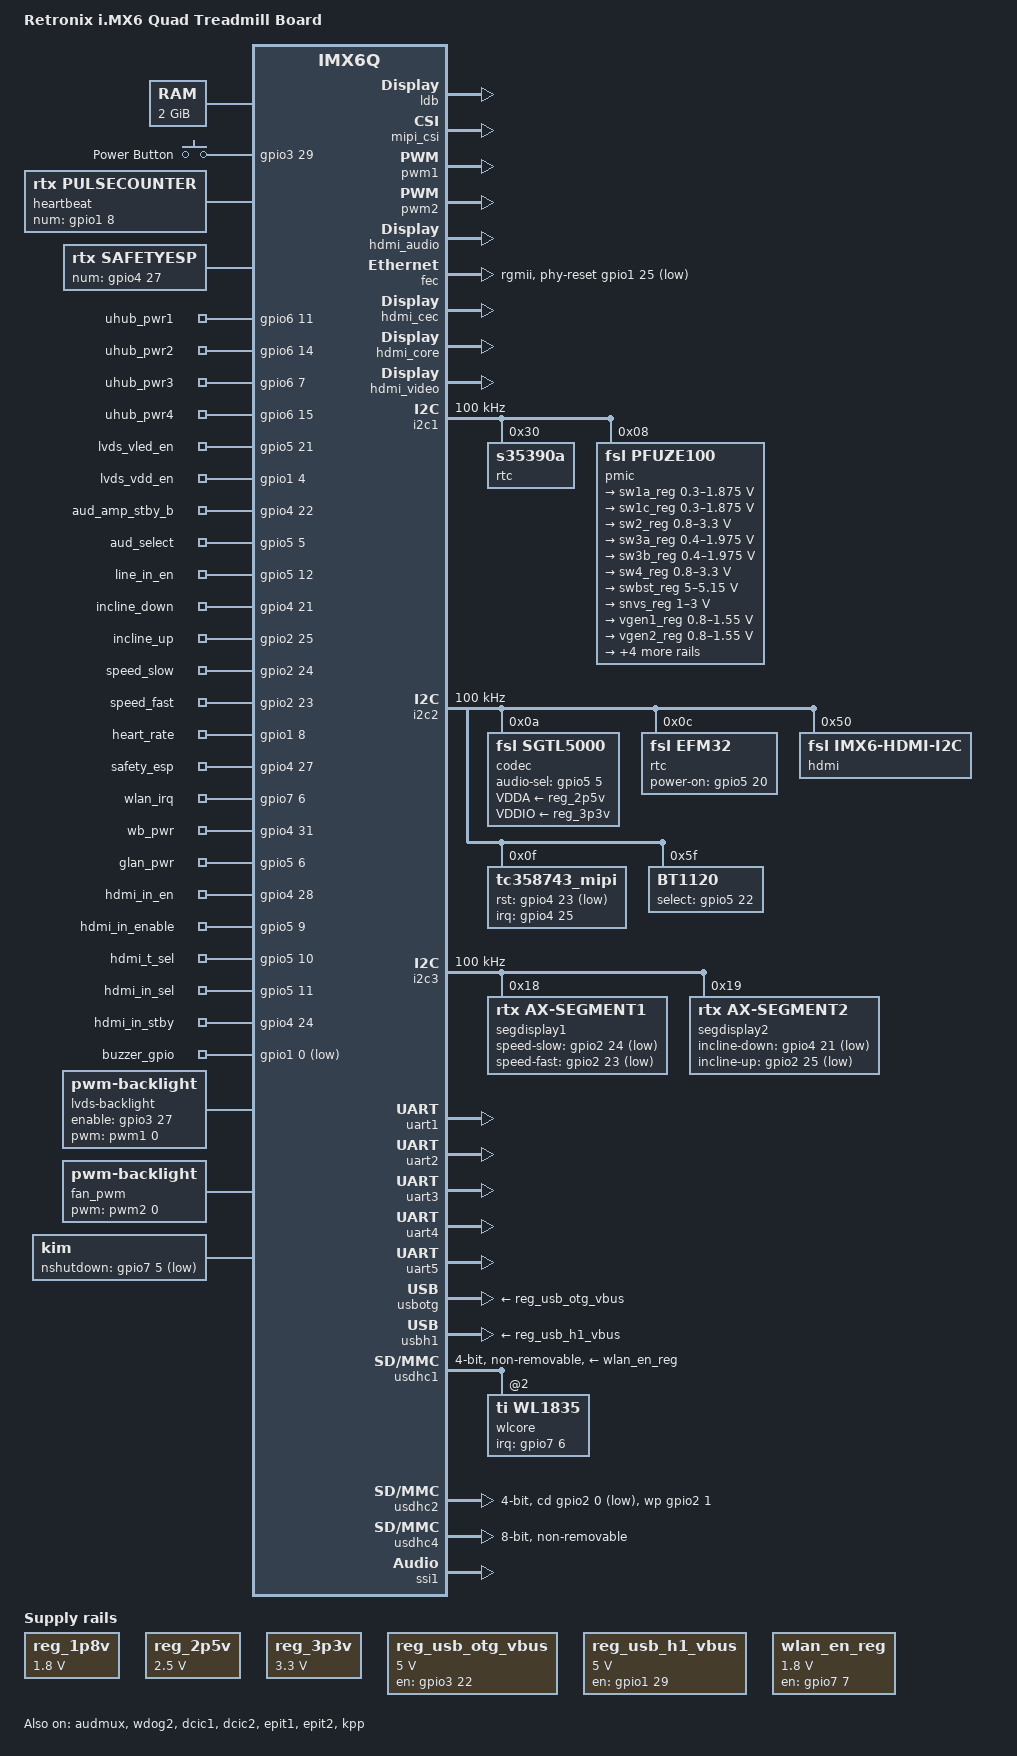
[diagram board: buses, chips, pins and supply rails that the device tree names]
/*
 * Copyright 2013-2016 Boundary Devices, Inc.
 * Copyright 2012 Freescale Semiconductor, Inc.
 * Copyright 2011 Linaro Ltd.
 *
 * The code contained herein is licensed under the GNU General Public
 * License. You may obtain a copy of the GNU General Public License
 * Version 2 or later at the following locations:
 *
 * http://www.opensource.org/licenses/gpl-license.html
 * http://www.gnu.org/copyleft/gpl.html
 */

/dts-v1/;

#include "skeleton.dtsi"
#include "imx6q-pinfunc.h"
#include <dt-bindings/gpio/gpio.h>
#include <dt-bindings/input/input.h>
#include <dt-bindings/interrupt-controller/arm-gic.h>
#include <dt-bindings/clock/imx6qdl-clock.h>

#include "rtx-imx6q-soc.dtsi"
#include "rtx-imx6q-treadmill-android-iomux.dtsi"


/ {
	model = "Retronix i.MX6 Quad Treadmill Board";
	compatible = "fsl,imx6q-rtx-treadmill", "fsl,imx6q";
	
	aliases {
		mxcfb0 = &mxcfb1;
		mxcfb1 = &mxcfb2;
		mxcfb2 = &mxcfb3;
		mxcfb3 = &mxcfb4;
		mmc0 = &usdhc4;
		mmc1 = &usdhc2;
		mmc2 = &usdhc3;
		mmc3 = &usdhc1;
	};
	
	memory {
		reg = <0x10000000 0x80000000>;
	};

	regulators {
		compatible = "simple-bus";
		
		reg_1p8v: 1p8v {
			compatible = "regulator-fixed";
			regulator-name = "1P8V";
			regulator-min-microvolt = <1800000>;
			regulator-max-microvolt = <1800000>;
			regulator-always-on;
		};

		reg_2p5v: 2p5v {
			compatible = "regulator-fixed";
			regulator-name = "2P5V";
			regulator-min-microvolt = <2500000>;
			regulator-max-microvolt = <2500000>;
			regulator-always-on;
		};

		reg_3p3v: 3p3v {
			compatible = "regulator-fixed";
			regulator-name = "3P3V";
			regulator-min-microvolt = <3300000>;
			regulator-max-microvolt = <3300000>;
			regulator-always-on;
		};

		reg_usb_otg_vbus: usb_otg_vbus {
			compatible = "regulator-fixed";
			regulator-name = "usb_otg_vbus";
			regulator-min-microvolt = <5000000>;
			regulator-max-microvolt = <5000000>;
			gpio = <&gpio3 22 GPIO_ACTIVE_HIGH>;
			enable-active-high;
		};

		reg_usb_h1_vbus: usb_h1_vbus {
			compatible = "regulator-fixed";
			regulator-name = "usb_h1_vbus";
			regulator-min-microvolt = <5000000>;
			regulator-max-microvolt = <5000000>;
			gpio = <&gpio1 29 GPIO_ACTIVE_HIGH>;
			enable-active-high;
		};
		
	};

	gpio-keys {
		compatible = "gpio-keys";
		power {
			label = "Power Button";
			gpios = <&gpio3 29 GPIO_ACTIVE_HIGH>;
			linux,code = <KEY_POWER>;
			gpio-key,wakeup;
			debounce-interval = <1>;
		};

	};

	heartbeat {
		compatible = "rtx,pulsecounter";
		gpio-num = <&gpio1 8 GPIO_ACTIVE_HIGH>;
		trigger-edge = <1>;//0(none);1(rising);2(falling);3(both)
		min-count = <30>;   //1次/min
		max-count = <300>; //300次/min
	};
	
	safetyesp {
		compatible = "rtx,safetyesp";
		gpio-num = <&gpio4 27 GPIO_ACTIVE_HIGH>;
		trigger-edge = <2>;//0(none);1(rising);2(falling);3(both)
	};
	
	gpio_export {
		compatible = "gpio-export";

		/* uhub_pwr1 = <&gpio6 11 GPIO_ACTIVE_HIGH>; 171 */
		uhub_pwr1 {
			gpio-export,name = "uhub_pwr1";
			gpio-export,output = <1>;
			gpio-export,direction_may_change ;
			gpios = <&gpio6 11 GPIO_ACTIVE_HIGH>;
		};
		/* uhub_pwr2 = <&gpio6 14 GPIO_ACTIVE_HIGH>; 174 */
		uhub_pwr2 {
			gpio-export,name = "uhub_pwr2";
			gpio-export,output = <1>;
			gpio-export,direction_may_change ;
			gpios = <&gpio6 14 GPIO_ACTIVE_HIGH>;
		};
		/* uhub_pwr3 = <&gpio6 7 GPIO_ACTIVE_HIGH>; 167 */
		uhub_pwr3 {
			gpio-export,name = "uhub_pwr3";
			gpio-export,output = <1>;
			gpio-export,direction_may_change ;
			gpios = <&gpio6 7 GPIO_ACTIVE_HIGH>;
		};
		/* uhub_pwr4 = <&gpio6 15 GPIO_ACTIVE_HIGH>; 175 */
		uhub_pwr4 {
			gpio-export,name = "uhub_pwr4";
			gpio-export,output = <1>;
			gpio-export,direction_may_change ;
			gpios = <&gpio6 15 GPIO_ACTIVE_HIGH>;
		};
		
		/* lvds_vled_en = <&gpio5 21 GPIO_ACTIVE_HIGH>; 149 */
		lvds_vled_en {
			gpio-export,name = "lvds_vled_en";
			gpio-export,output = <1>;
			gpio-export,direction_may_change ;
			gpios = <&gpio5 21 GPIO_ACTIVE_HIGH>;		
		};
		/* lvds_vdd_en = <&gpio1 4 GPIO_ACTIVE_HIGH>; 4 */
		lvds_vdd_en {
			gpio-export,name = "lvds_vdd_en";
			gpio-export,output = <1>;
			gpio-export,direction_may_change ;
			gpios = <&gpio1 4 GPIO_ACTIVE_HIGH>;		
		};
		
		/* aud_amp_stby_b = <&gpio4 22 GPIO_ACTIVE_HIGH>; 118 */
		aud_amp_stby_b {
			gpio-export,name = "aud_amp_stby_b";
			gpio-export,output = <0>;
			gpio-export,direction_may_change ;
			gpios = <&gpio4 22 GPIO_ACTIVE_HIGH>;								
		};
		/* aud_select = <&gpio5 5 GPIO_ACTIVE_HIGH>; 133 */
		aud_select {
			gpio-export,name = "aud_select";
			gpio-export,output = <0>;
			gpio-export,direction_may_change ;
			gpios = <&gpio5 5 GPIO_ACTIVE_HIGH>;								
		};
		/* line_in_en = <&gpio5 12 GPIO_ACTIVE_HIGH>; 140 */
		line_in_en {
			gpio-export,name = "line_in_en";
			gpio-export,output = <1>;
			gpio-export,direction_may_change ;
			gpios = <&gpio5 12 GPIO_ACTIVE_HIGH>;								
		};
		
		/* incline_down = <&gpio4 21 GPIO_ACTIVE_HIGH>; 117 */
		incline_down {
			gpio-export,name = "incline_down";
			gpio-export,direction_may_change ;
			gpios = <&gpio4 21 GPIO_ACTIVE_HIGH>;				
		};
		/* incline_up = <&gpio2 25 GPIO_ACTIVE_HIGH>; 57 */
		incline_up {
			gpio-export,name = "incline_up";
			gpio-export,direction_may_change ;
			gpios = <&gpio2 25 GPIO_ACTIVE_HIGH>;				
		};
		/* speed_slow = <&gpio2 24 GPIO_ACTIVE_HIGH>; 56 */
		speed_slow {
			gpio-export,name = "speed_slow";
			gpio-export,direction_may_change ;
			gpios = <&gpio2 24 GPIO_ACTIVE_HIGH>;				
		};
		/* speed_fast = <&gpio2 23 GPIO_ACTIVE_HIGH>; 55 */
		speed_fast {
			gpio-export,name = "speed_fast";
			gpio-export,direction_may_change ;
			gpios = <&gpio2 23 GPIO_ACTIVE_HIGH>;				
		};
		/* heart_rate = <&gpio1 8 GPIO_ACTIVE_HIGH>; 8 */
		heart_rate {
			gpio-export,name = "heart_rate";
			gpio-export,direction_may_change ;
			gpios = <&gpio1 8 GPIO_ACTIVE_HIGH>;
		};
		/* safety_esp = <&gpio4 27 GPIO_ACTIVE_HIGH>; 123 */
		safety_esp {
			gpio-export,name = "safety_esp";
			gpio-export,direction_may_change ;
			gpios = <&gpio4 27 GPIO_ACTIVE_HIGH>;
		};
		
		/* wlan_irq = <&gpio7 6 GPIO_ACTIVE_HIGH>; 198 */
		wlan_irq {
			gpio-export,name = "wlan_irq";
			gpios = <&gpio7 6 GPIO_ACTIVE_HIGH>;								
		};
		
		/* wb_pwr = <&gpio4 31 GPIO_ACTIVE_HIGH>; 127 */
		wb_pwr {
			gpio-export,name = "wb_pwr";
			gpio-export,output = <1>;
			gpio-export,direction_may_change ;
			gpios = <&gpio4 31 GPIO_ACTIVE_HIGH>;								
		};
		
		/* glan_pwr = <&gpio5 6 GPIO_ACTIVE_HIGH>; 134 */
		glan_pwr {
			gpio-export,name = "glan_pwr";
			gpio-export,output = <1>;
			gpio-export,direction_may_change ;
			gpios = <&gpio5 6 GPIO_ACTIVE_HIGH>;								
		};
		
		/* 642 hdmi_in_en = <&gpio4 28 GPIO_ACTIVE_HIGH>; 124 */
		hdmi_in_en {
			gpio-export,name = "hdmi_in_en";
			gpio-export,output = <1>;
			gpio-export,direction_may_change ;
			gpios = <&gpio4 28 GPIO_ACTIVE_HIGH>;								
		};			
		/* 642 hdmi_in_enable = <&gpio5 9 GPIO_ACTIVE_HIGH>; 137 */
		hdmi_in_enable {
			gpio-export,name = "hdmi_in_enable";
			gpio-export,output = <1>;
			gpio-export,direction_may_change ;
			gpios = <&gpio5 9 GPIO_ACTIVE_HIGH>;								
		};
		/* 642 hdmi_t_sel = <&gpio5 10 GPIO_ACTIVE_HIGH>; 138 */
		hdmi_t_sel {
			gpio-export,name = "hdmi_t_sel";
			gpio-export,output = <0>;
			gpio-export,direction_may_change ;
			gpios = <&gpio5 10 GPIO_ACTIVE_HIGH>;								
		};
		/* 642 hdmi_in_sel = <&gpio5 11 GPIO_ACTIVE_HIGH>; 139*/
		hdmi_in_sel {
			gpio-export,name = "hdmi_in_sel";
			gpio-export,output = <1>;
			gpio-export,direction_may_change ;
			gpios = <&gpio5 11 GPIO_ACTIVE_HIGH>;								
		};		
		
		/* TC358743 hdmi_in_stby = <&gpio4 24 GPIO_ACTIVE_HIGH>; 120 */
		hdmi_in_stby {
			gpio-export,name = "hdmi_in_stby";
			gpio-export,output = <1>;
			gpio-export,direction_may_change ;
			gpios = <&gpio4 24 GPIO_ACTIVE_HIGH>;								
		};		

		/* buzzer_gpio = <&gpio1 0 GPIO_ACTIVE_LOW>; 0 */
		buzzer_gpio {
			gpio-export,name = "buzzer_gpio";
			gpio-export,output = <0>;
			gpio-export,direction_may_change ;
			gpios = <&gpio1 0 GPIO_ACTIVE_LOW>;								
		};	
				
	};

	sound {
		compatible = "fsl,imx6q-rtx-treadmill-sgtl5000",
			     "fsl,imx-audio-sgtl5000";
		model = "sgtl5000-audio";
		cpu-dai = <&ssi1>;
		audio-codec = <&codec>;
		audio-routing =
			"MIC_IN", "Mic Jack",
			"LINE_IN", "Line In Jack",
			"Headphone Jack", "HP_OUT",
			"Ext Spk", "LINE_OUT";
		fsl,mode = "slave";
		mux-int-port = <1>;
		mux-ext-port = <6>;

	};

	sound-hdmi {
		compatible = "fsl,imx6q-audio-hdmi",
			     "fsl,imx-audio-hdmi";
		model = "imx-audio-hdmi";
		hdmi-controller = <&hdmi_audio>;
	};

	mxcfb1: fb@0 {
		compatible = "fsl,mxc_sdc_fb";
		disp_dev = "ldb";
		interface_pix_fmt = "RGB666";
		default_bpp = <16>;
		int_clk = <0>;
		late_init = <0>;
		status = "okay";
	};

	mxcfb2: fb@1 {
		compatible = "fsl,mxc_sdc_fb";
		disp_dev = "ldb";
		interface_pix_fmt = "RGB666";
		default_bpp = <16>;
		int_clk = <0>;
		late_init = <0>;
		status = "okay";
	};

	mxcfb3: fb@2 {
		compatible = "fsl,mxc_sdc_fb";
		disp_dev = "hdmi";
		interface_pix_fmt = "RGB24";
		mode_str ="1920x1080M@60";
		default_bpp = <24>;
		int_clk = <0>;
		late_init = <0>;
		status = "okay";
	};

	mxcfb4: fb@3 {
		compatible = "fsl,mxc_sdc_fb";
		disp_dev = "lcd";
		interface_pix_fmt = "RGB565";
		mode_str ="CLAA-WVGA";
		default_bpp = <16>;
		int_clk = <0>;
		late_init = <0>;
		status = "okay";
	};
	
	lvds-backlight {
		compatible = "pwm-backlight";
		pwms = <&pwm1 0 50000>;/*20000Hz*/
		brightness-levels = <32 64 96 128 156 192 224 255>;
		default-brightness-level = <7>;
		enable-gpios = <&gpio3 27 GPIO_ACTIVE_HIGH>;
		default-value = <1>;
		/*power-supply = <&reg_backlight>;*/
		status = "okay";
	};

	fan_pwm {
		compatible = "pwm-backlight";
		pwms = <&pwm2 0 4000000>;/*250Hz*/
		brightness-levels = <0   2   5   7   10  12  15  17  20  22  25  27  30  32  35  37  40  42  45  47
                             50  52  55  57  60  62  65  67  70  72  75  77  80  82  85  87  90  92  95  97
                             100 102 105 107 110 112 115 117 120 122 125 127 130 132 135 137 140 142 145 147
                             150 152 155 157 160 162 165 167 170 172 175 177 180 182 185 187 190 192 195 197
                             200 202 205 207 210 212 215 217 220 222 225 228 231 234 237 240 243 246 249 252 255>;
		default-brightness-level = <0>;
		/*power-supply = <&reg_backlight>;*/
		status = "okay";
	};
	
	v4l2_cap_0 {
		compatible = "fsl,imx6q-v4l2-capture";
		ipu_id = <1>;
		csi_id = <1>;
		mclk_source = <0>;
		status = "okay";
	};
	
	v4l2_cap_1 {
		compatible = "fsl,imx6q-v4l2-capture";
		ipu_id = <0>;
		csi_id = <0>;
		mipi_camera = <1>;
		mclk_source = <0>;
		status = "okay";
	};

	v4l2_out {
		compatible = "fsl,mxc_v4l2_output";
		status = "okay";
	};
	
	ramoops_device {
		compatible = "fsl,mxc_ramoops";
		record_size = <524288>; /*512K*/
		console_size = <262144>; /*256K*/
		ftrace_size = <262144>;  /*256K*/
		dump_oops = <1>;
		status = "okay";
	};

    wlan_en_reg: fixedregulator@2 {
        compatible = "regulator-fixed";
        regulator-name = "wlan-en-regulator";
        regulator-min-microvolt = <1800000>;
        regulator-max-microvolt = <1800000>;
        /* WLAN_EN GPIO for this board */
        gpio = <&gpio7 7 GPIO_ACTIVE_HIGH>;
        /* WLAN card specific delay */
        startup-delay-us = <70000>;
        enable-active-high;
    };

    kim {
            compatible = "kim";
            nshutdown_gpio = <&gpio7 5 GPIO_ACTIVE_LOW>;  /* GPIO7_IO05 BT_EN */
            dev_name = "/dev/ttymxc1";
            flow_cntrl = <1>;
            baud_rate = <3000000>;
    };

    btwilink {
            compatible = "btwilink";
    };
    
    
};

&ldb {
	status = "okay";
	
	lvds-channel@0 {
		fsl,data-mapping = "spwg";
		fsl,data-width = <24>;
		primary;
		crtc = "ipu1-di0";
		interface_pix_fmt = "RGB24";
		status = "okay";

		display-timings {
			native-mode = <&timing0>;
			timing0: hsd100pxn1 {
				clock-frequency = <71100000>;
				hactive = <1280>;
				hfront-porch = <30>;
				hback-porch = <100>;
				hsync-len = <30>;
				vactive = <800>;
				vfront-porch = <5>;
				vback-porch = <12>;
				vsync-len = <6>;
				mode-is-detailed ;
				de-active = <1>;
			};
		};
	};

	lvds-channel@1 {
		fsl,data-mapping = "spwg";
		fsl,data-width = <24>;
		primary;
		crtc = "ipu1-di1";
		interface_pix_fmt = "RGB24";
		status = "okay";

		display-timings {
			native-mode = <&timing1>;
			timing1: hsd100pxn2 {
				clock-frequency = <65000000>;
				hactive = <1024>;
				hfront-porch = <240>;
				hback-porch = <0>;
				hsync-len = <80>;
				vactive = <768>;
				vfront-porch = <28>;
				vback-porch = <0>;
				vsync-len = <7>;
				mode-is-detailed ;
				de-active = <1>;
			};
		};
	};
};

&mipi_csi {
	ipu_id = <0>;
	csi_id = <0>;
	v_channel = <0>;
	lanes = <4>;
	status = "okay";
};

&cpu0 {
	arm-supply = <&sw1a_reg>;
	soc-supply = <&sw1c_reg>;
};

&audmux {
	pinctrl-names = "default";
	pinctrl-0 = <&pinctrl_audmux6_1>;
	status = "okay";
};

&pwm1 {
	pinctrl-names = "default";
	pinctrl-0 = <&pinctrl_pwm1_1>;
	status = "okay";
};

&pwm2 {
	pinctrl-names = "default";
	pinctrl-0 = <&pinctrl_pwm2_1>;
	status = "okay";
};


&hdmi_audio {
	status = "okay";
};

&fec {
	pinctrl-names = "default";
	pinctrl-0 = <&pinctrl_enet_4>;
	phy-mode = "rgmii";
	phy-reset-gpios = <&gpio1 25 GPIO_ACTIVE_HIGH>;
	phy-reset-fall-duration = <1>;
	phy-reset-rise-duration = <20>;
	phy-reset-boot-on;
	status = "okay";
};

&hdmi_cec {
	pinctrl-names = "default";
	pinctrl-0 = <&pinctrl_hdmi_cec_2>;
	status = "okay";
};

&hdmi_core {
	ipu_id = <1>;
	disp_id = <0>;
	status = "okay";
};

&hdmi_video {
	fsl,phy_reg_vlev = <0x0294>;
	fsl,phy_reg_cksymtx = <0x800d>;
	status = "okay";
};

&i2c1 {
	clock-frequency = <100000>;
	pinctrl-names = "default";
	pinctrl-0 = <&pinctrl_i2c1_2>;
	status = "okay";

	rtc: s35390a@30 {
		compatible = "s35390a";
		reg = <0x30>;
	};

	pmic: pfuze100@08 {
		compatible = "fsl,pfuze100";
		reg = <0x08>;

		regulators {
			sw1a_reg: sw1ab {
				regulator-min-microvolt = <300000>;
				regulator-max-microvolt = <1875000>;
				regulator-boot-on;
				regulator-always-on;
				regulator-ramp-delay = <6250>;
			};

			sw1c_reg: sw1c {
				regulator-min-microvolt = <300000>;
				regulator-max-microvolt = <1875000>;
				regulator-boot-on;
				regulator-always-on;
				regulator-ramp-delay = <6250>;
			};

			sw2_reg: sw2 {
				regulator-min-microvolt = <800000>;
				regulator-max-microvolt = <3300000>;
				regulator-boot-on;
				regulator-always-on;
				regulator-ramp-delay = <6250>;
			};

			sw3a_reg: sw3a {
				regulator-min-microvolt = <400000>;
				regulator-max-microvolt = <1975000>;
				regulator-boot-on;
				regulator-always-on;
			};

			sw3b_reg: sw3b {
				regulator-min-microvolt = <400000>;
				regulator-max-microvolt = <1975000>;
				regulator-boot-on;
				regulator-always-on;
			};

			sw4_reg: sw4 {
				regulator-min-microvolt = <800000>;
				regulator-max-microvolt = <3300000>;
				regulator-boot-on;
				regulator-always-on;				
			};

			swbst_reg: swbst {
				regulator-min-microvolt = <5000000>;
				regulator-max-microvolt = <5150000>;
				regulator-always-on;
			};

			snvs_reg: vsnvs {
				regulator-min-microvolt = <1000000>;
				regulator-max-microvolt = <3000000>;
				regulator-boot-on;
				regulator-always-on;
			};

			vref_reg: vrefddr {
				regulator-boot-on;
				regulator-always-on;
			};

			vgen1_reg: vgen1 {
				regulator-min-microvolt = <800000>;
				regulator-max-microvolt = <1550000>;
				regulator-boot-on;
				regulator-always-on;				
			};

			vgen2_reg: vgen2 {
				regulator-min-microvolt = <800000>;
				regulator-max-microvolt = <1550000>;
				regulator-boot-on;
				regulator-always-on;				
			};

			vgen3_reg: vgen3 {
				regulator-min-microvolt = <1800000>;
				regulator-max-microvolt = <3300000>;
				regulator-boot-on;
				regulator-always-on;				
			};

			vgen4_reg: vgen4 {
				regulator-min-microvolt = <1800000>;
				regulator-max-microvolt = <3300000>;
				regulator-always-on;
			};

			vgen5_reg: vgen5 {
				regulator-min-microvolt = <1800000>;
				regulator-max-microvolt = <3300000>;
				regulator-always-on;
			};

			vgen6_reg: vgen6 {
				regulator-min-microvolt = <1800000>;
				regulator-max-microvolt = <3300000>;
				regulator-always-on;
			};
		};
	};
};

&i2c2 {
	clock-frequency = <100000>;
	pinctrl-names = "default";
	pinctrl-0 = <&pinctrl_i2c2_2>;
	status = "okay";

	codec: sgtl5000@0a {
		compatible = "fsl,sgtl5000";
		reg = <0x0a>;
		clocks = <&clks IMX6QDL_CLK_CKO>;
		VDDA-supply = <&reg_2p5v>;
		VDDIO-supply = <&reg_3p3v>;
		audio-sel-gpio = <&gpio5 5 GPIO_ACTIVE_HIGH>;
	};

	rtc@0c {
		compatible = "fsl,efm32";
		power-on-gpio = <&gpio5 20 GPIO_ACTIVE_HIGH>;
		#gpio-boot = <&gpio6 16 0>;
		#gpio-reset = <&gpio4 26 0>;
		reg = <0x0c>;
	};
	
	hdmi: edid@50 {
		compatible = "fsl,imx6-hdmi-i2c";
		reg = <0x50>;
	};
	
	tc358743_mipi: tc358743_mipi@0f {
		compatible = "tc358743_mipi";
		reg = <0x0f>;
		rst-gpios = <&gpio4 23 GPIO_ACTIVE_LOW>;
		irq-gpios = <&gpio4 25 GPIO_ACTIVE_HIGH>;
		interrupts-extended = <&gpio4 25 IRQ_TYPE_LEVEL_HIGH>;		
		ipu_id = <0>;
		csi_id = <0>;
		mclk = <26000000>;
		mclk_source = <0>;
	};
	
	BT1120: BT1120@05f {
		compatible = "BT1120";
		pinctrl-names = "default";
        pinctrl-0 = <&pinctrl_ipu1_2>;
        reg = <0x5f>;
		ipu_id = <1>;
		csi_id = <1>;
		mclk = <65000000>;
		mclk_source = <0>;
        select,output = <0>;
        select-gpios = <&gpio5 22 GPIO_ACTIVE_HIGH>;
	};
	
};

&i2c3 {
	clock-frequency = <100000>;
	pinctrl-names = "default";
	pinctrl-0 = <&pinctrl_i2c3_2>;
	status = "okay";

	segdisplay1: ax@18 {
		compatible = "rtx,ax-segment1";
		reg = <0x18>;
		speed-slow   = <&gpio2 24 GPIO_ACTIVE_LOW>;
		speed-fast   = <&gpio2 23 GPIO_ACTIVE_LOW>;
		trigger-edge = <3>;//0(none);1(rising);2(falling);3(both)
		def-data = "000";
	};
	
	segdisplay2: ax@19 {
		compatible = "rtx,ax-segment2";
		reg = <0x19>;
		incline-down = <&gpio4 21 GPIO_ACTIVE_LOW>;
		incline-up   = <&gpio2 25 GPIO_ACTIVE_LOW>;
		trigger-edge = <3>;//0(none);1(rising);2(falling);3(both)
		def-data = "000";
	};
};

&uart1 {
	pinctrl-names = "default";
	pinctrl-0 = <&pinctrl_uart1_1>;

	status = "okay";
};

&uart2 {
	pinctrl-names = "default";
	pinctrl-0 = <&pinctrl_uart2_1>;
	/* enable rts/cts */
	fsl,uart-has-rtscts;
	status = "okay";
};

&uart3 {
	pinctrl-names = "default";
	pinctrl-0 = <&pinctrl_uart3_1>;
	/* fsl,uart-has-rtscts; */
	fsl,azrs3080;
	fsl,azrs3080-rts-dir    = <&gpio3 23 GPIO_ACTIVE_HIGH> ;
	status = "okay";
};

&uart4 {
	pinctrl-names = "default";
	pinctrl-0 = <&pinctrl_uart4_1>;

	status = "okay";
};

&uart5 {
	pinctrl-names = "default";
	pinctrl-0 = <&pinctrl_uart5_1>;
	/* fsl,uart-has-rtscts; */
	fsl,azrs3080;
	fsl,azrs3080-rts-dir    = <&gpio4 15 GPIO_ACTIVE_HIGH> ;
	status = "okay";
};

&usbotg {
	vbus-supply = <&reg_usb_otg_vbus>;
	pinctrl-names = "default";
	pinctrl-0 = <&pinctrl_usbotg_2>;
	disable-over-current;
	status = "okay";
};

&usbh1 {
	vbus-supply = <&reg_usb_h1_vbus>;
	status = "okay";
};

&usdhc1 {
    pinctrl-names = "default";
    pinctrl-0 = <&pinctrl_usdhc1_50mhz>;
    bus-width = <4>;
	keep-power-in-suspend;
	enable-sdio-wakeup;
    vmmc-supply = <&wlan_en_reg>;
	non-removable;
	cap-power-off-card;
    status = "okay";
    #address-cells = <1>;
    #size-cells = <0>;
    wlcore: wlcore@0 {
        compatible = "ti,wl1835";
        reg = <2>;
        interrupt-parent = <&gpio7>;
        interrupts = <6 IRQ_TYPE_EDGE_RISING>;
    };  
};

&usdhc2 {
	pinctrl-names = "default";
	pinctrl-0 = <&pinctrl_usdhc2_50mhz &pinctrl_usdhc2_cd_wp>;
	bus-width = <4>;
	cd-gpios = <&gpio2 0 GPIO_ACTIVE_LOW>;
	wp-gpios = <&gpio2 1 GPIO_ACTIVE_HIGH>;
	no-1-8-v;
	keep-power-in-suspend;
	enable-sdio-wakeup;
	status = "okay";
};

&usdhc4 {
    pinctrl-names = "default";
    pinctrl-0 = <&pinctrl_usdhc4_1>;
    bus-width = <8>;
    non-removable;
    no-1-8-v;
	keep-power-in-suspend;
    status = "okay";
};

&ssi1 {
	fsl,mode = "i2s-slave";
	status = "okay";
};

&wdog1 {
	status = "disabled";
};

&wdog2 {
	pinctrl-names = "default";
	fsl,wdog_b;
	status = "okay";
};

&dcic1 {
	dcic_id = <0>;
	dcic_mux = "dcic-hdmi";
	status = "okay";
};

&dcic2 {
	dcic_id = <1>;
	dcic_mux = "dcic-lvds0";
	status = "okay";
};

&epit1 {
	epit-id = < 0 >;
	status = "okay";
};

&epit2 {
	epit-id = < 1 >;
	status = "okay";
};

&caam_sm  {
	status = "disabled";
};

&irq_sec_vio  {
	status = "disabled";
};

&caam_snvs  {
	status = "disabled";
};

&crypto {
	status = "disabled";
};

&kpp {
	pinctrl-names = "default";
	pinctrl-0 = <&pinctrl_kpp_1>;
	linux,keymap = <
            MATRIX_KEY(2,2,KEY_VOLUMEUP)      	// KEY_VOLUMEUP 
            MATRIX_KEY(2,3,KEY_VOLUMEDOWN)      // KEY_VOLUMEDOWN 
            MATRIX_KEY(2,6,KEY_RIGHT)      		// KEY_RIGHT 
            MATRIX_KEY(3,2,KEY_LEFT)      		// KEY_LEFT 
            MATRIX_KEY(3,3,KEY_UP)      		// KEY_UP 
            MATRIX_KEY(3,6,KEY_DOWN)      		// KEY_DOWN 
            MATRIX_KEY(6,2,KEY_BACK)      		// KEY_BACK 
            MATRIX_KEY(6,3,KEY_POWER)      		// KEY_POWER 
            MATRIX_KEY(6,6,KEY_MENU)      		// KEY_MENU 
	>;
    keypad,num-rows = <3>;
    keypad,num-columns = <3>;
    status = "okay";
};


